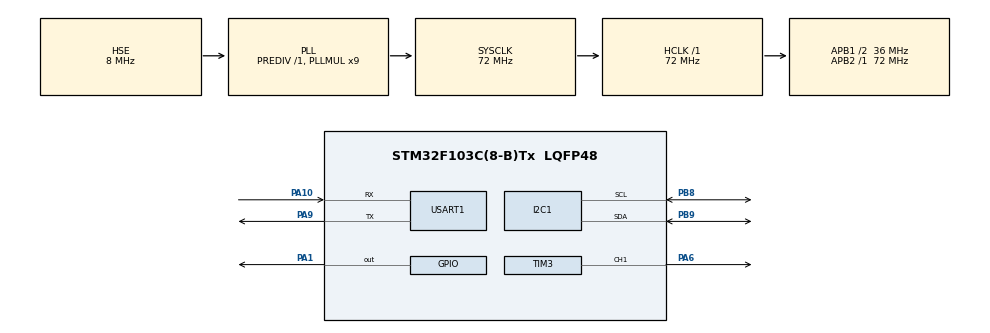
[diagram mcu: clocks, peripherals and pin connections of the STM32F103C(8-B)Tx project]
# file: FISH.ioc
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Dma.Request0=USART1_RX
Dma.Request1=USART1_TX
Dma.USART1_RX.0.Direction=DMA_PERIPH_TO_MEMORY
Dma.USART1_RX.0.Instance=DMA1_Channel5
Dma.USART1_RX.0.MemDataAlignment=DMA_MDATAALIGN_BYTE
Dma.USART1_RX.0.MemInc=DMA_MINC_ENABLE
Dma.USART1_RX.0.Mode=DMA_NORMAL
Dma.USART1_RX.0.PeriphDataAlignment=DMA_PDATAALIGN_BYTE
Dma.USART1_RX.0.PeriphInc=DMA_PINC_DISABLE
Dma.USART1_RX.0.Priority=DMA_PRIORITY_VERY_HIGH
Dma.USART1_TX.1.Direction=DMA_MEMORY_TO_PERIPH
Dma.USART1_TX.1.Instance=DMA1_Channel4
Dma.USART1_TX.1.MemDataAlignment=DMA_MDATAALIGN_BYTE
Dma.USART1_TX.1.MemInc=DMA_MINC_ENABLE
Dma.USART1_TX.1.Mode=DMA_NORMAL
Dma.USART1_TX.1.PeriphDataAlignment=DMA_PDATAALIGN_BYTE
Dma.USART1_TX.1.PeriphInc=DMA_PINC_DISABLE
Dma.USART1_TX.1.Priority=DMA_PRIORITY_VERY_HIGH
Mcu.Family=STM32F1
Mcu.Name=STM32F103C(8-B)Tx
Mcu.Package=LQFP48
NVIC.DMA1_Channel4_IRQn=true\:0\:0\:false\:false\:true\:false\:true
NVIC.DMA1_Channel5_IRQn=true\:0\:0\:false\:false\:true\:false\:true
NVIC.PriorityGroup=NVIC_PRIORITYGROUP_4
NVIC.USART1_IRQn=true\:0\:0\:true\:false\:true\:true\:true
PA1.GPIO_ModeDefaultOutputPP=GPIO_MODE_OUTPUT_PP
PA1.GPIO_PuPd=GPIO_PULLUP
PA1.GPIO_Speed=GPIO_SPEED_FREQ_LOW
PA1.PinState=GPIO_PIN_SET
PA1.Signal=GPIO_Output
PA10.Mode=Asynchronous
PA10.Signal=USART1_RX
PA13.Mode=Serial_Wire
PA13.Signal=SYS_JTMS-SWDIO
PA14.Mode=Serial_Wire
PA14.Signal=SYS_JTCK-SWCLK
PA6.Signal=S_TIM3_CH1
PA9.Mode=Asynchronous
PA9.Signal=USART1_TX
PB8.Mode=I2C
PB8.Signal=I2C1_SCL
PB9.Mode=I2C
PB9.Signal=I2C1_SDA
PD0-OSC_IN.Mode=HSE-External-Oscillator
PD0-OSC_IN.Signal=RCC_OSC_IN
PD1-OSC_OUT.Mode=HSE-External-Oscillator
PD1-OSC_OUT.Signal=RCC_OSC_OUT
ProjectManager.HeapSize=0x200
ProjectManager.StackSize=0x400
ProjectManager.TargetToolchain=MDK-ARM V5.32
RCC.AHBFreq_Value=72000000
RCC.APB1CLKDivider=RCC_HCLK_DIV2
RCC.APB1Freq_Value=36000000
RCC.APB1TimFreq_Value=72000000
RCC.APB2Freq_Value=72000000
RCC.APB2TimFreq_Value=72000000
RCC.HCLKFreq_Value=72000000
RCC.PLLMUL=RCC_PLL_MUL9
RCC.PLLSourceVirtual=RCC_PLLSOURCE_HSE
RCC.SYSCLKFreq_VALUE=72000000
RCC.SYSCLKSource=RCC_SYSCLKSOURCE_PLLCLK
RCC.USBFreq_Value=72000000
SH.S_TIM3_CH1.0=TIM3_CH1,PWM Generation1 CH1
TIM2.Prescaler=72-1
TIM3.Channel-PWM\ Generation1\ CH1=TIM_CHANNEL_1
TIM3.Period=100-1
TIM3.Prescaler=720-1
USART1.VirtualMode=VM_ASYNC
VP_TIM2_VS_ClockSourceINT.Mode=Internal
board=custom

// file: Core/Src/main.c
/* USER CODE BEGIN Header */
/**
  ******************************************************************************
  * @file           : main.c
  * @brief          : Main program body
  ******************************************************************************
  * @attention
  *
  * Copyright (c) 2024 STMicroelectronics.
  * All rights reserved.
  *
  * This software is licensed under terms that can be found in the LICENSE file
  * in the root directory of this software component.
  * If no LICENSE file comes with this software, it is provided AS-IS.
  *
  ******************************************************************************
  */
/* USER CODE END Header */
#include "main.h"
#include "dma.h"
#include "i2c.h"
#include "tim.h"
#include "usart.h"
#include "gpio.h"

/* USER CODE BEGIN Includes */
#include <stdio.h>
#include <string.h>
#include "user.h"
#include "OLED.h"
#include "DS18B20.h"
#include "PID.h"

/* USER CODE END Includes */

/* USER CODE BEGIN PD */
#define RX_SIZE  256//最大缓冲数组
// #define RXBUFFERSIZE  256
//char RxBuffer[RXBUFFERSIZE];
/* USER CODE END PD */

/* USER CODE BEGIN PV */
//uint8_t usernum = 0;//用户选择操作缓冲数
//volatile float target_tempture = 0;//目标温度
//volatile float tempture = 0;//当前温度
//extern uint8_t arxbuffer;//缓冲数组
static int kp,ki,target_temp,ntemp;//比例系数，积分系数,目标温度，当前温度

extern uint8_t RX_Buff[];//接收数据缓冲
extern uint8_t RX_Len;//接收数据长度
extern uint8_t RX_data[];//接收数据缓存
volatile int target;
uint8_t usernum = 0;//用户控制缓冲变量
volatile int tempture,setpwm;//当前温度,设置pwm

/* USER CODE END PV */

void SystemClock_Config(void);

int main(void)
{
  /* USER CODE BEGIN 1 */
	int temp=0;
  /* USER CODE END 1 */

  /* MCU Configuration--------------------------------------------------------*/

  /* Reset of all peripherals, Initializes the Flash interface and the Systick. */
  HAL_Init();

  /* USER CODE BEGIN Init */
	 PID_Init();
  /* USER CODE END Init */

  /* Configure the system clock */
  SystemClock_Config();

  /* Initialize all configured peripherals */
  MX_GPIO_Init();
  MX_TIM2_Init();
  MX_USART1_UART_Init();
  MX_DMA_Init();
  MX_I2C1_Init();
  MX_TIM3_Init();
  /* USER CODE BEGIN 2 */
//	HAL_UART_Receive_IT(&huart1, (uint8_t *)&arxbuffer, 1);
	__HAL_UART_ENABLE_IT(&huart1,UART_IT_IDLE);//开启串口空闲中断
//	USAR_UART_IDLECallback(&huart1,RX_SIZE);
	HAL_UART_Receive_DMA(&huart1,RX_Buff,RX_SIZE);//开启DMA接收
	HAL_TIM_PWM_Start(&htim3,TIM_CHANNEL_1);//开启pwm通道
  /* USER CODE END 2 */

  /* Infinite loop */
  /* USER CODE BEGIN WHILE */
		oled_init();
		HAL_Delay(500);
		user_Init();
		target = 28;

	 while(DS18B20_Init())
		{

		printf("mechine checked failed!!!\r\n");
		HAL_Delay(500);
		}
		printf("mechine checked success!!!\r\n");

  while (1)
  {
    /* USER CODE END WHILE */

    /* USER CODE BEGIN 3 */

		if(usernum)
		{

			tempture = DS18B20_Get_Temperature()/10;
			setpwm = calculate_tempture(target,tempture);
			delay_ms_tim(10);
		__HAL_TIM_SetCompare(&htim3,TIM_CHANNEL_1,setpwm);
			user_show(target);
			delay_ms_tim(2000);
		}

//		user_set();
//		switch(usernum)
//		{
//			case 1:  user_set();break;
//			case 2:  user_show(target_tempture);break;
//			case 3:	 user_show(target_tempture);break;
////
//		}

//		if(usernum == 1)
//		{
//			user_set();
//		break;
//		}
//		else if(usernum == 2)
//		{
//			user_show(target_tempture);
////		float t=DS18B20_Get_Temperature()/10;
////		if(t<0)
////			{
////			t=-t;
////			}
////
////		printf("Tempture: %.2f C\r\n",t);
//   }
//		else
//		{
//			user_set2();
//
//		}
	}

  /* USER CODE END 3 */
}

void SystemClock_Config(void)
{
  RCC_OscInitTypeDef RCC_OscInitStruct = {0};
  RCC_ClkInitTypeDef RCC_ClkInitStruct = {0};

  /** Initializes the RCC Oscillators according to the specified parameters
  * in the RCC_OscInitTypeDef structure.
  */
  RCC_OscInitStruct.OscillatorType = RCC_OSCILLATORTYPE_HSE;
  RCC_OscInitStruct.HSEState = RCC_HSE_ON;
  RCC_OscInitStruct.HSEPredivValue = RCC_HSE_PREDIV_DIV1;
  RCC_OscInitStruct.HSIState = RCC_HSI_ON;
  RCC_OscInitStruct.PLL.PLLState = RCC_PLL_ON;
  RCC_OscInitStruct.PLL.PLLSource = RCC_PLLSOURCE_HSE;
  RCC_OscInitStruct.PLL.PLLMUL = RCC_PLL_MUL9;
  if (HAL_RCC_OscConfig(&RCC_OscInitStruct) != HAL_OK)
  {
    Error_Handler();
  }
  /** Initializes the CPU, AHB and APB buses clocks
  */
  RCC_ClkInitStruct.ClockType = RCC_CLOCKTYPE_HCLK|RCC_CLOCKTYPE_SYSCLK
                              |RCC_CLOCKTYPE_PCLK1|RCC_CLOCKTYPE_PCLK2;
  RCC_ClkInitStruct.SYSCLKSource = RCC_SYSCLKSOURCE_PLLCLK;
  RCC_ClkInitStruct.AHBCLKDivider = RCC_SYSCLK_DIV1;
  RCC_ClkInitStruct.APB1CLKDivider = RCC_HCLK_DIV2;
  RCC_ClkInitStruct.APB2CLKDivider = RCC_HCLK_DIV1;

  if (HAL_RCC_ClockConfig(&RCC_ClkInitStruct, FLASH_LATENCY_2) != HAL_OK)
  {
    Error_Handler();
  }
}

void Error_Handler(void)
{
  __disable_irq();
  while (1)
  {
  }
}
